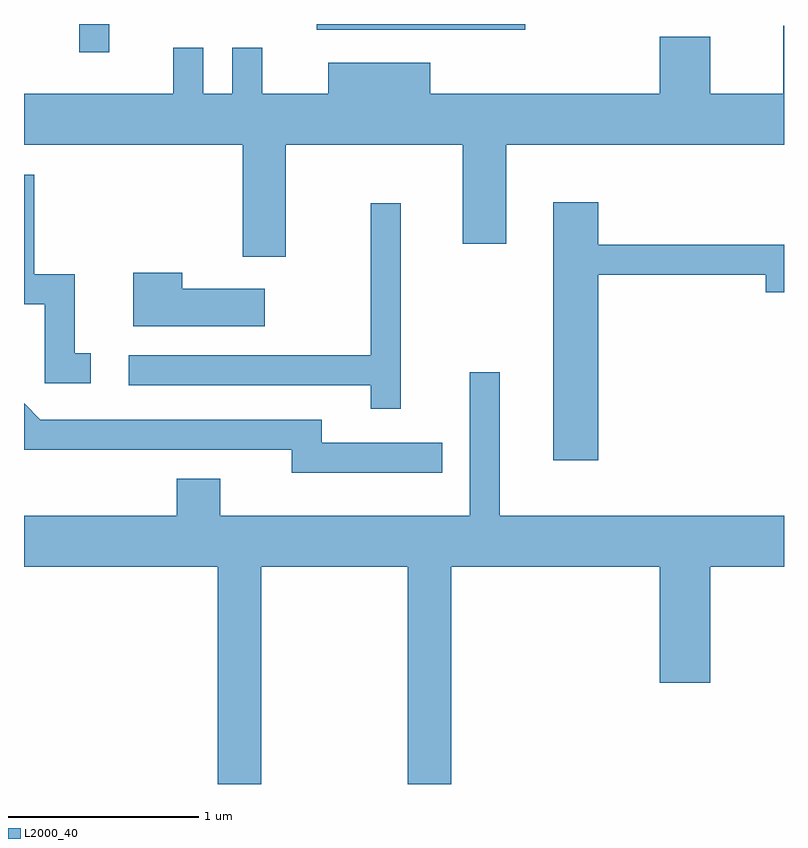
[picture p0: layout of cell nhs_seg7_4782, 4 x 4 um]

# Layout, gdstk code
import gdstk
lib = gdstk.Library(unit=1e-6, precision=1e-09)
def R(c, l, rs):  # rectangles x0, y0, x1, y1
    for r in rs: c.add(gdstk.rectangle(r[:2], r[2:], *l))
def P(c, l, *ps):  # polygons
    for p in ps: c.add(gdstk.Polygon(p, *l))
L2000_40 = (2000, 40)

nhs_seg7_4782 = lib.new_cell('nhs_seg7_4782')
R(nhs_seg7_4782, L2000_40, [(331.901,1748.103,332.059,1748.252), (333.151,1748.221,334.248,1748.252)])
P(nhs_seg7_4782, L2000_40, [(332.989,1747.616),(333.921,1747.616),(333.921,1747.096),(334.149,1747.096),(334.149,1747.616),(335.611,1747.616),(335.611,1748.243),(335.606,1748.243),(335.606,1747.884),(335.224,1747.884),(335.224,1748.184),(334.956,1748.184),(334.956,1747.884),(333.749,1747.884),(333.749,1748.049),(333.211,1748.049),(333.211,1747.884),(332.864,1747.884),(332.864,1748.128),(332.706,1748.128),(332.706,1747.884),(332.554,1747.884),(332.554,1748.128),(332.396,1748.128),(332.396,1747.884),(331.611,1747.884),(331.611,1747.616),(332.761,1747.616),(332.761,1747.026),(332.989,1747.026)],
  [(331.963,1746.519),(331.879,1746.519),(331.879,1746.934),(331.664,1746.934),(331.664,1747.459),(331.611,1747.459),(331.611,1746.776),(331.721,1746.776),(331.721,1746.361),(331.963,1746.361)],
  [(334.634,1746.931),(335.516,1746.931),(335.516,1746.841),(335.611,1746.841),(335.611,1747.089),(334.634,1747.089),(334.634,1747.314),(334.396,1747.314),(334.396,1745.956),(334.634,1745.956)],
  [(333.594,1747.308),(333.436,1747.308),(333.436,1746.509),(332.163,1746.509),(332.163,1746.351),(333.436,1746.351),(333.436,1746.228),(333.594,1746.228)],
  [(332.879,1746.859),(332.444,1746.859),(332.444,1746.944),(332.186,1746.944),(332.186,1746.661),(332.879,1746.661)],
  [(332.859,1745.396),(333.631,1745.396),(333.631,1744.252),(333.859,1744.252),(333.859,1745.396),(334.956,1745.396),(334.956,1744.786),(335.224,1744.786),(335.224,1745.396),(335.611,1745.396),(335.611,1745.664),(334.114,1745.664),(334.114,1746.418),(333.956,1746.418),(333.956,1745.664),(332.644,1745.664),(332.644,1745.859),(332.416,1745.859),(332.416,1745.664),(331.611,1745.664),(331.611,1745.396),(332.631,1745.396),(332.631,1744.252),(332.859,1744.252)],
  [(333.813,1746.049),(333.179,1746.049),(333.179,1746.169),(331.697,1746.169),(331.611,1746.255),(331.611,1746.011),(333.021,1746.011),(333.021,1745.891),(333.813,1745.891)])

lib.write_gds('nhs_seg7_4782.gds')
